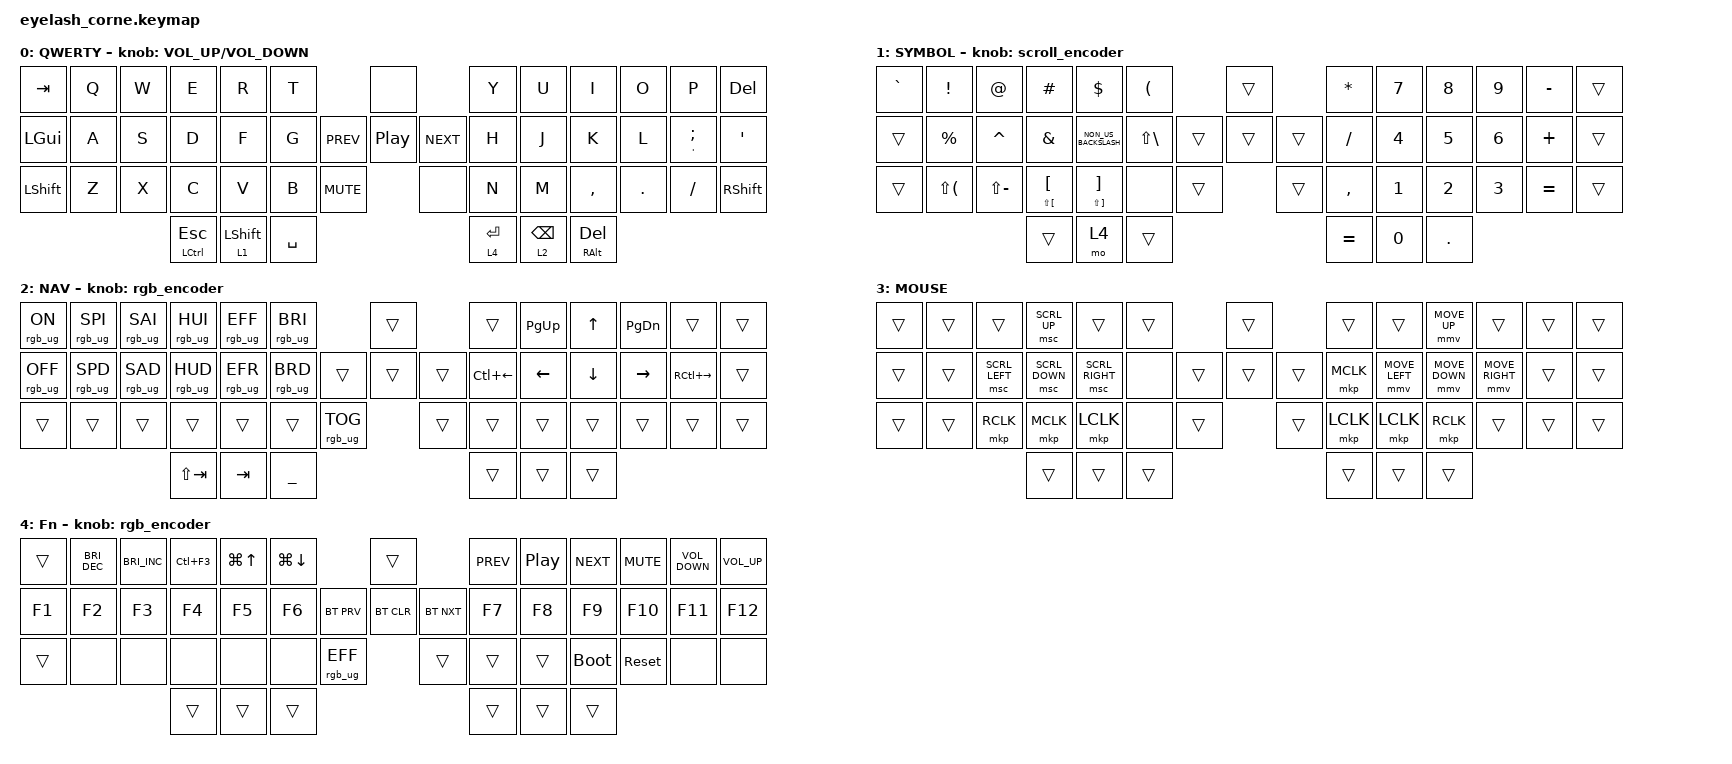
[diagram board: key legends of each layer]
#define ZMK_POINTING_DEFAULT_MOVE_VAL 1200  // 600
#define ZMK_POINTING_DEFAULT_SCRL_VAL 25   // 10

#include <input/processors.dtsi>
#include <zephyr/dt-bindings/input/input-event-codes.h>
#include <behaviors.dtsi>
#include <dt-bindings/zmk/bt.h>
#include <dt-bindings/zmk/keys.h>
#include <dt-bindings/zmk/pointing.h>
#include <dt-bindings/zmk/rgb.h>

&mmv_input_listener { input-processors = <&zip_xy_scaler 2 1>; };

&msc_input_listener { input-processors = <&zip_scroll_scaler 2 1>; };

&msc {
    acceleration-exponent = <1>;      // 0
    time-to-max-speed-ms = <100>;       // 300
    delay-ms = <0>;                   // 0
};

&mmv {
    time-to-max-speed-ms = <500>;
    acceleration-exponent = <1>;
    trigger-period-ms = <16>;
};

&lt {
    flavor = "hold-preferred";
    quick-tap-ms = <200>;
};

&mt {
};

/ {
    behaviors {
        auto_shift: as {
            compatible = "zmk,behavior-hold-tap";
            label = "as";
            bindings = <&kp>, <&kp>;

            #binding-cells = <2>;
            flavor = "tap-preferred";
            tapping-term-ms = <250>;
            quick-tap-ms = <200>;
        };

        mt_tap: mt_tap {
            compatible = "zmk,behavior-hold-tap";
            label = "MT_TAP";
            bindings = <&kp>, <&kp>;

            #binding-cells = <2>;
            tapping-term-ms = <200>;
            flavor = "tap-preferred";
        };

        mt_hold_while_undecided: mt_hold_while_undecided {
            compatible = "zmk,behavior-hold-tap";
            label = "MT_HOLD_WHILE_UNDECIDED";
            bindings = <&kp>, <&kp>;

            #binding-cells = <2>;
            tapping-term-ms = <200>;
            hold-while-undecided;
            hold-trigger-on-release;
        };

        lt_tap: lt_tap {
            compatible = "zmk,behavior-hold-tap";
            label = "LT_TAP";
            bindings = <&mo>, <&kp>;

            #binding-cells = <2>;
            tapping-term-ms = <200>;
            flavor = "tap-preferred";
        };

        os: oneshot {
            compatible = "zmk,behavior-sticky-key";
            label = "ONESHOT";
            bindings = <&kp>;
            #binding-cells = <1>;
            release-after-ms = <1000>;
            quick-release;
            ignore-modifiers;
        };

        lo: layer_oneshot {
            compatible = "zmk,behavior-hold-tap";
            label = "Layer Oneshot";
            bindings = <&mo>, <&os>;

            #binding-cells = <2>;
            tapping-term-ms = <200>;
            quick-tap-ms = <200>;
            flavor = "hold-preferred";
            hold-while-undecided;
        };

        scl: shift_caps_layer {
            compatible = "zmk,behavior-tap-dance";
            label = "SHIFT_CAPS_LAYER";
            #binding-cells = <0>;
            bindings = <&lo 1 LEFT_SHIFT>, <&caps_word>;

            tapping-term-ms = <300>;
        };
    };

    rgb_encoder: rgb_encoder {
        compatible = "zmk,behavior-sensor-rotate";
        #sensor-binding-cells = <0>;
        bindings = <&rgb_ug RGB_BRI>, <&rgb_ug RGB_BRD>;
    };

    scroll_encoder: scroll_encoder {
        compatible = "zmk,behavior-sensor-rotate";
        #sensor-binding-cells = <0>;
        bindings = <&msc SCRL_DOWN>, <&msc SCRL_UP>;

        tap-ms = <100>;
    };

    combos {
        compatible = "zmk,combos";

        Caps {
            bindings = <&caps_word>;
            key-positions = <43 46>;
        };
    };

    keymap {
        compatible = "zmk,keymap";

        default_layer {
            display-name = "QWERTY";
            bindings = <
&kp TAB         &kp Q  &kp W  &kp E                        &kp R             &kp T                                &none                         &kp Y        &kp U            &kp I                  &kp O       &kp P                 &kp DEL
&kp LEFT_GUI    &kp A  &kp S  &kp D                        &kp F             &kp G                    &kp C_PREV  &kp C_PLAY_PAUSE  &kp C_NEXT  &kp H        &kp J            &kp K                  &kp L       &auto_shift SQT SEMI  &kp SQT
&kp LEFT_SHIFT  &kp Z  &kp X  &kp C                        &kp V             &kp B      &kp C_MUTE                &none                         &kp N        &kp M            &kp COMMA              &kp PERIOD  &kp SLASH             &kp RIGHT_SHIFT
                              &mt_tap LEFT_CONTROL ESCAPE  &lo 1 LEFT_SHIFT  &kp SPACE                                                          &lt 4 ENTER  &lt 2 BACKSPACE  &mt_tap RIGHT_ALT DEL
            >;

            sensor-bindings = <&inc_dec_kp C_VOLUME_UP C_VOLUME_DOWN>;
        };

        Sym {
            display-name = "SYMBOL";
            bindings = <
&kp GRAVE  &kp EXCL                  &kp AT         &kp HASH                                   &kp DLLR                                     &kp LEFT_PARENTHESIS                    &trans          &kp ASTERISK  &kp NUMBER_7  &kp N8        &kp N9        &kp MINUS  &trans
&trans     &kp PERCENT               &kp CARET      &kp AMPERSAND                              &kp NON_US_BACKSLASH                         &kp LS(BACKSLASH)               &trans  &trans  &trans  &kp SLASH     &kp NUMBER_4  &kp N5        &kp NUMBER_6  &kp PLUS   &trans
&trans     &kp LS(LEFT_PARENTHESIS)  &kp LS(MINUS)  &auto_shift LS(LEFT_BRACKET) LEFT_BRACKET  &auto_shift LS(RIGHT_BRACKET) RIGHT_BRACKET  &none                 &trans            &trans          &kp COMMA     &kp NUMBER_1  &kp NUMBER_2  &kp NUMBER_3  &kp EQUAL  &trans
                                                    &trans                                     &mo 4                                        &trans                                                  &kp EQUAL     &kp N0        &kp PERIOD
            >;

            sensor-bindings = <&scroll_encoder>;
        };

        Nav {
            display-name = "NAV";
            bindings = <
&rgb_ug RGB_ON   &rgb_ug RGB_SPI  &rgb_ug RGB_SAI  &rgb_ug RGB_HUI  &rgb_ug RGB_EFF  &rgb_ug RGB_BRI                             &trans          &trans        &kp PAGE_UP     &kp UP_ARROW    &kp PAGE_DOWN  &trans         &trans
&rgb_ug RGB_OFF  &rgb_ug RGB_SPD  &rgb_ug RGB_SAD  &rgb_ug RGB_HUD  &rgb_ug RGB_EFR  &rgb_ug RGB_BRD                     &trans  &trans  &trans  &kp LC(LEFT)  &kp LEFT_ARROW  &kp DOWN_ARROW  &kp RIGHT      &kp RC(RIGHT)  &trans
&trans           &trans           &trans           &trans           &trans           &trans           &rgb_ug RGB_TOG            &trans          &trans        &trans          &trans          &trans         &trans         &trans
                                                   &kp LS(TAB)      &kp TAB          &kp UNDER                                                   &trans        &trans          &trans
            >;

            sensor-bindings = <&rgb_encoder>;
        };

        Mouse {
            bindings = <
&trans  &trans  &trans          &msc SCRL_UP    &trans           &trans                    &trans          &trans     &trans          &mmv MOVE_UP    &trans           &trans  &trans
&trans  &trans  &msc SCRL_LEFT  &msc SCRL_DOWN  &msc SCRL_RIGHT  &none             &trans  &trans  &trans  &mkp MCLK  &mmv MOVE_LEFT  &mmv MOVE_DOWN  &mmv MOVE_RIGHT  &trans  &trans
&trans  &trans  &mkp RCLK       &mkp MCLK       &mkp LCLK        &none   &trans            &trans          &mkp LCLK  &mkp LCLK       &mkp RCLK       &trans           &trans  &trans
                                &trans          &trans           &trans                                    &trans     &trans          &trans
            >;

            label = "MOUSE";
        };

        Function {
            display-name = "Fn";
            bindings = <
&trans  &kp C_BRI_DEC  &kp C_BRIGHTNESS_INC  &kp LC(F3)  &kp LG(UP_ARROW)  &kp LG(DOWN)                                 &trans                  &kp C_PREV  &kp C_PLAY_PAUSE  &kp C_NEXT   &kp C_MUTE  &kp C_VOLUME_DOWN  &kp C_VOLUME_UP
&kp F1  &kp F2         &kp F3                &kp F4      &kp F5            &kp F6                           &bt BT_PRV  &bt BT_CLR  &bt BT_NXT  &kp F7      &kp F8            &kp F9       &kp F10     &kp F11            &kp F12
&trans  &none          &none                 &none       &none             &none         &rgb_ug RGB_EFF                &trans                  &trans      &trans            &bootloader  &sys_reset  &none              &none
                                             &trans      &trans            &trans                                                               &trans      &trans            &trans
            >;

            sensor-bindings = <&rgb_encoder>;
            label = "Function";
        };
    };
};
